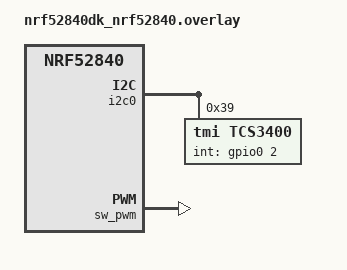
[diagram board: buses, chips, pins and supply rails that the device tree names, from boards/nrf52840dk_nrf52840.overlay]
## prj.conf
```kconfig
CONFIG_LOG=y
CONFIG_PWM=y
CONFIG_GPIO=y
CONFIG_TMI_DRIVER_TCS3400_LOG_LEVEL=3
CONFIG_STDOUT_CONSOLE=y
CONFIG_PRINTK=y
CONFIG_LOG_PRINTK=y
CONFIG_LOG_MODE_IMMEDIATE=y
CONFIG_PWM_LOG_LEVEL_DBG=n
```

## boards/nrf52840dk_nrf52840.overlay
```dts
/ {
	aliases {
		i2c0 = &i2c0;
	};
};

&i2c0 {
	status = "okay";
	pinctrl-0 = <&i2c0_default>;
	pinctrl-1 = <&i2c0_sleep>;
	pinctrl-names = "default", "sleep";

	p1: tcs3400@39 {
		compatible = "tmi,tcs3400";
		reg = <0x39>;
		status = "okay";
		label = "TCS3400";
		int-gpios = <&gpio0 2 GPIO_ACTIVE_HIGH>;
	};
};

&pwm0 {
	status = "disabled";
};

&sw_pwm {
	status = "okay";
	channel-gpios = <&gpio0 13 PWM_POLARITY_NORMAL>;
};

&pwm_led0 {
	pwms = <&sw_pwm 0 PWM_MSEC(20) PWM_POLARITY_NORMAL>;
};
```

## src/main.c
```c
#include <zephyr/kernel.h>
#include <zephyr/drivers/sensor.h>
#include <zephyr/logging/log.h>
#include <zephyr/drivers/pwm.h>
#include <zephyr/sys/printk.h>

#define TCS3400_ID_1 0x90
#define TCS3400_ID_2 0x93

#define FIXED_PERIOD   PWM_MSEC(1U)
#define FADE_STEP_SIZE (FIXED_PERIOD / 500U)
#define FADE_DELAY_MS  100

LOG_MODULE_REGISTER(app);

#define ERROR_LOOP(...)                                                                            \
	do {                                                                                       \
		while (1) {                                                                        \
			LOG_ERR(__VA_ARGS__);                                                      \
			k_msleep(1000);                                                            \
		}                                                                                  \
	} while (0)

static const struct device *p1 = DEVICE_DT_GET(DT_NODELABEL(p1));
static const struct pwm_dt_spec pwm_led0 = PWM_DT_SPEC_GET(DT_ALIAS(pwm_led0));

int main(void)
{
	int ret = 0;
	struct sensor_value colors[4];
	uint32_t pulse_width = 0U;
	uint8_t fading_up = 1U;

	if (!device_is_ready(p1)) {
		LOG_ERR("Sensor device not ready!");
		return -ENODEV;
	}
	LOG_INF("device is ready \n");

	/* Verify that the hardware device is ready to use */
	if (!pwm_is_ready_dt(&pwm_led0)) {
		LOG_ERR("Error: PWM device %s is not ready\n", pwm_led0.dev->name);
		return 0;
	}

	LOG_INF("Starting breathing/fading effect on channel %d...\n", pwm_led0.channel);

	while (1) {
		ret = pwm_set_dt(&pwm_led0, FIXED_PERIOD, pulse_width);
		if (ret) {
			LOG_ERR("Error %d: failed to set pulse width\n", ret);
			return 0;
		}
		if (fading_up) {
			pulse_width += FADE_STEP_SIZE;
			if (pulse_width >= FIXED_PERIOD) {
				pulse_width = FIXED_PERIOD;
				fading_up = 0U;
			}
		} else {
			if (pulse_width >= FADE_STEP_SIZE) {
				pulse_width -= FADE_STEP_SIZE;
			} else {
				pulse_width = 0U;
			}
			if (pulse_width == 0U) {
				fading_up = 1U;
			}
		}
		// LOG_INF("pulse_width: %d, fading_up: %d", pulse_width, fading_up);

		ret = sensor_sample_fetch(p1);
		if (ret != 0) {
			return -1;
		}
		ret = sensor_channel_get(p1, SENSOR_CHAN_LIGHT, colors);
		if (ret != 0) {
			return -1;
		}
		double red = sensor_value_to_double(&colors[0]);
		double green = sensor_value_to_double(&colors[1]);
		double blue = sensor_value_to_double(&colors[2]);
		double clear = sensor_value_to_double(&colors[3]);

		LOG_PRINTK(">C:%.2f,R:%.2f,G:%.2f,B:%.2f\n", clear, red, green, blue);

		k_msleep(FADE_DELAY_MS);
	}
	return 0;
}
```
